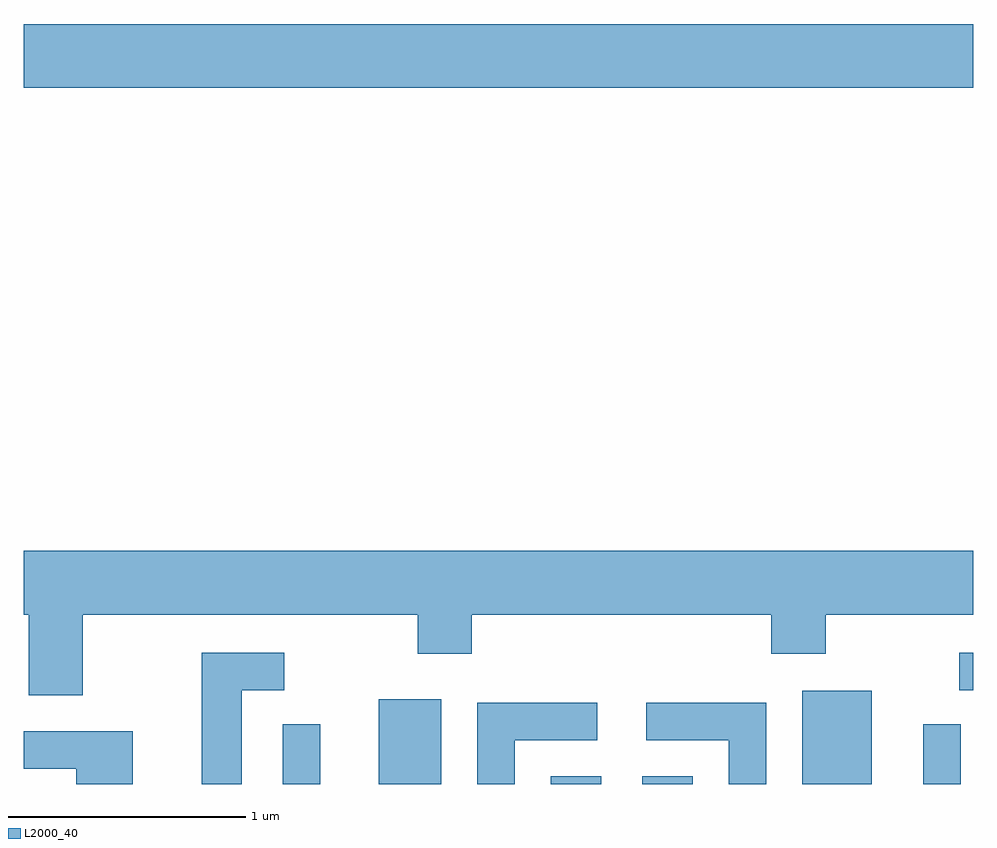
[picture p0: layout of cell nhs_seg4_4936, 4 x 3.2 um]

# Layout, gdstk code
import gdstk
lib = gdstk.Library(unit=1e-6, precision=1e-09)
def R(c, l, rs):  # rectangles x0, y0, x1, y1
    for r in rs: c.add(gdstk.rectangle(r[:2], r[2:], *l))
def P(c, l, *ps):  # polygons
    for p in ps: c.add(gdstk.Polygon(p, *l))
L2000_40 = (2000, 40)

nhs_seg4_4936 = lib.new_cell('nhs_seg4_4936')
R(nhs_seg4_4936, L2000_40, [(330.701,1333.982,330.859,1334.233), (331.106,1333.982,331.369,1334.339), (331.831,1333.982,332.044,1334.014), (332.216,1333.982,332.429,1334.014), (332.891,1333.982,333.184,1334.374), (333.401,1333.982,333.559,1334.233), (333.553,1334.376,333.611,1334.534), (329.611,1336.916,333.611,1337.184)])
P(nhs_seg4_4936, L2000_40, [(329.859,1334.696),(331.271,1334.696),(331.271,1334.531),(331.499,1334.531),(331.499,1334.696),(332.761,1334.696),(332.761,1334.531),(332.989,1334.531),(332.989,1334.696),(333.611,1334.696),(333.611,1334.964),(329.611,1334.964),(329.611,1334.696),(329.631,1334.696),(329.631,1334.356),(329.859,1334.356)],
  [(330.529,1334.376),(330.708,1334.376),(330.708,1334.534),(330.361,1334.534),(330.361,1333.982),(330.529,1333.982)],
  [(332.739,1334.324),(332.233,1334.324),(332.233,1334.166),(332.581,1334.166),(332.581,1333.982),(332.739,1333.982)],
  [(331.679,1334.166),(332.028,1334.166),(332.028,1334.324),(331.521,1334.324),(331.521,1333.982),(331.679,1333.982)],
  [(330.069,1334.204),(329.611,1334.204),(329.611,1334.046),(329.831,1334.046),(329.831,1333.982),(330.069,1333.982)])

lib.write_gds('nhs_seg4_4936.gds')
